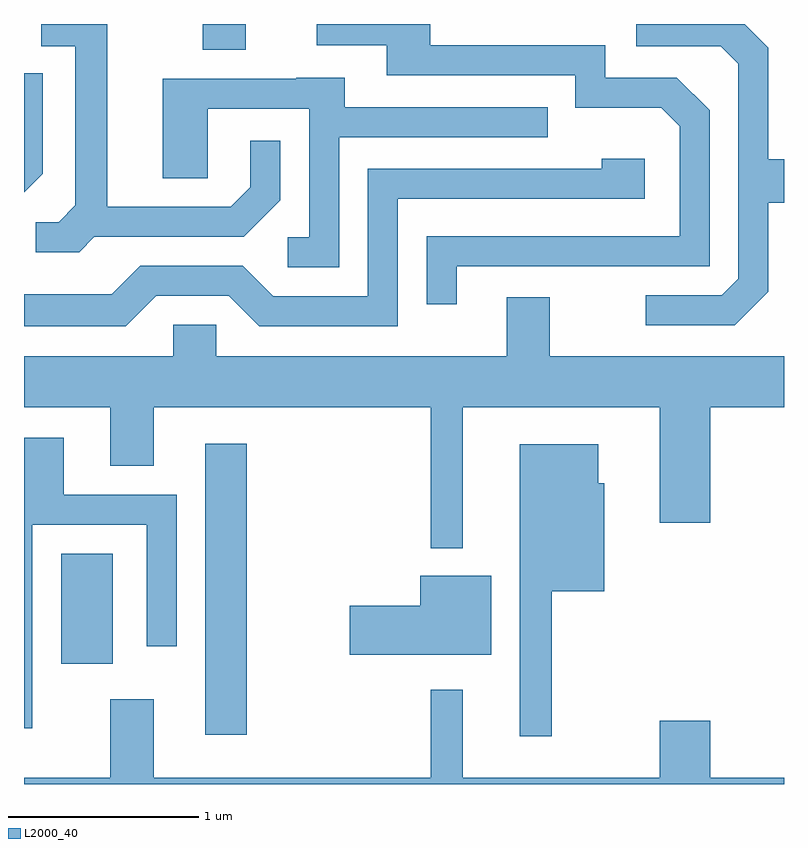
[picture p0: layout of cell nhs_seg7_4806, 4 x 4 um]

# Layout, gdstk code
import gdstk
lib = gdstk.Library(unit=1e-6, precision=1e-09)
def R(c, l, rs):  # rectangles x0, y0, x1, y1
    for r in rs: c.add(gdstk.rectangle(r[:2], r[2:], *l))
def P(c, l, *ps):  # polygons
    for p in ps: c.add(gdstk.Polygon(p, *l))
L2000_40 = (2000, 40)

nhs_seg7_4806 = lib.new_cell('nhs_seg7_4806')
R(nhs_seg7_4806, L2000_40, [(332.566,1792.511,332.784,1794.044), (331.806,1792.886,332.079,1793.464), (332.551,1796.116,332.779,1796.252)])
P(nhs_seg7_4806, L2000_40, [(331.982,1795.131),(332.767,1795.131),(332.959,1795.324),(332.959,1795.638),(332.801,1795.638),(332.801,1795.392),(332.699,1795.289),(332.049,1795.289),(332.049,1796.252),(331.703,1796.252),(331.703,1796.136),(331.881,1796.136),(331.881,1795.297),(331.794,1795.209),(331.673,1795.209),(331.673,1795.051),(331.902,1795.051)],
  [(335.529,1794.844),(335.529,1795.311),(335.611,1795.311),(335.611,1795.539),(335.529,1795.539),(335.529,1796.127),(335.404,1796.252),(334.833,1796.252),(334.833,1796.136),(335.279,1796.136),(335.371,1796.044),(335.371,1794.912),(335.284,1794.824),(334.883,1794.824),(334.883,1794.666),(335.352,1794.666)],
  [(333.889,1794.976),(335.219,1794.976),(335.219,1795.797),(335.047,1795.969),(334.669,1795.969),(334.669,1796.139),(333.749,1796.139),(333.749,1796.252),(333.153,1796.252),(333.153,1796.141),(333.521,1796.141),(333.521,1795.981),(334.511,1795.981),(334.511,1795.811),(334.964,1795.811),(335.061,1795.714),(335.061,1795.134),(333.731,1795.134),(333.731,1794.778),(333.889,1794.778)],
  [(331.709,1795.464),(331.709,1795.993),(331.611,1795.993),(331.611,1795.366)],
  [(333.269,1795.656),(334.368,1795.656),(334.368,1795.814),(333.299,1795.814),(333.299,1795.969),(333.045,1795.969),(333.045,1795.964),(332.341,1795.964),(332.341,1795.441),(332.579,1795.441),(332.579,1795.806),(333.111,1795.806),(333.111,1795.129),(332.998,1795.129),(332.998,1794.971),(333.269,1794.971)],
  [(332.307,1794.821),(332.689,1794.821),(332.849,1794.661),(333.579,1794.661),(333.579,1795.331),(334.879,1795.331),(334.879,1795.544),(334.651,1795.544),(334.651,1795.489),(333.421,1795.489),(333.421,1794.819),(332.922,1794.819),(332.762,1794.979),(332.224,1794.979),(332.074,1794.829),(331.611,1794.829),(331.611,1794.661),(332.147,1794.661)],
  [(333.919,1794.236),(334.956,1794.236),(334.956,1793.626),(335.224,1793.626),(335.224,1794.236),(335.611,1794.236),(335.611,1794.504),(334.379,1794.504),(334.379,1794.814),(334.151,1794.814),(334.151,1794.504),(332.624,1794.504),(332.624,1794.669),(332.396,1794.669),(332.396,1794.504),(331.611,1794.504),(331.611,1794.236),(332.066,1794.236),(332.066,1793.926),(332.294,1793.926),(332.294,1794.236),(333.751,1794.236),(333.751,1793.493),(333.919,1793.493)],
  [(331.654,1793.616),(332.256,1793.616),(332.256,1792.978),(332.414,1792.978),(332.414,1793.774),(331.819,1793.774),(331.819,1794.074),(331.611,1794.074),(331.611,1792.546),(331.654,1792.546)],
  [(334.389,1793.266),(334.664,1793.266),(334.664,1793.834),(334.634,1793.834),(334.634,1794.039),(334.221,1794.039),(334.221,1792.503),(334.389,1792.503)],
  [(334.069,1793.349),(333.696,1793.349),(333.696,1793.189),(333.326,1793.189),(333.326,1792.931),(334.069,1792.931)],
  [(335.611,1792.284),(335.224,1792.284),(335.224,1792.584),(334.956,1792.584),(334.956,1792.284),(333.919,1792.284),(333.919,1792.748),(333.751,1792.748),(333.751,1792.284),(332.294,1792.284),(332.294,1792.699),(332.066,1792.699),(332.066,1792.284),(331.611,1792.284),(331.611,1792.252),(335.611,1792.252)])

lib.write_gds('nhs_seg7_4806.gds')
